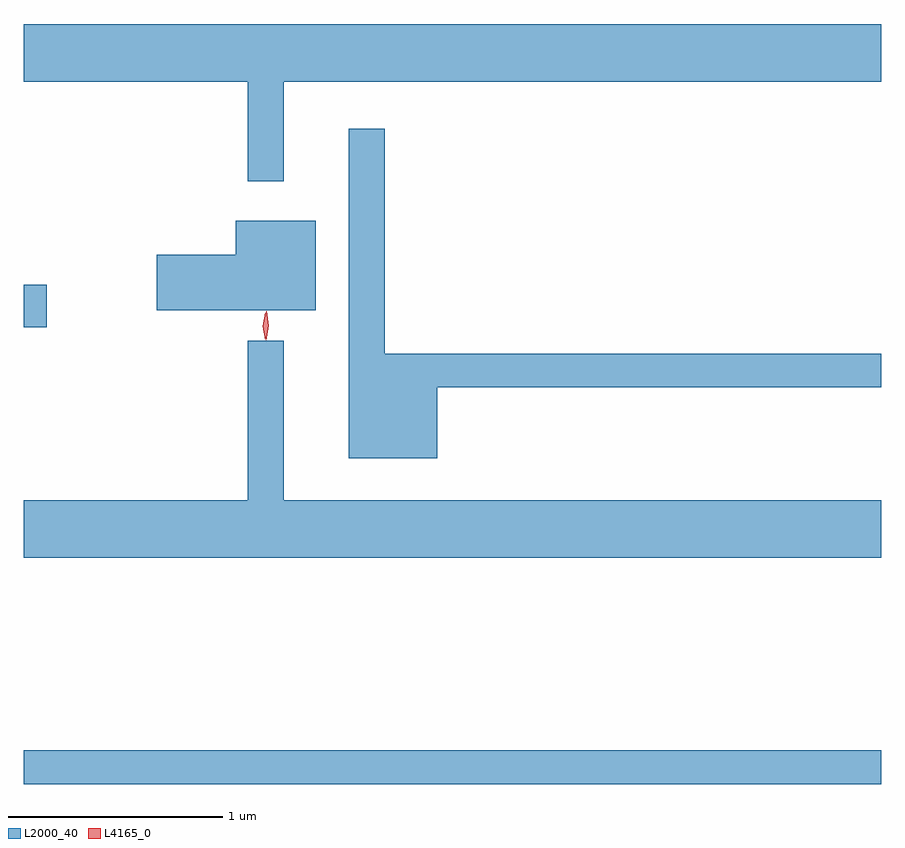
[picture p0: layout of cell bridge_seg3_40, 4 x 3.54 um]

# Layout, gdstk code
import gdstk
lib = gdstk.Library(unit=1e-6, precision=1e-09)
def R(c, l, rs):  # rectangles x0, y0, x1, y1
    for r in rs: c.add(gdstk.rectangle(r[:2], r[2:], *l))
def P(c, l, *ps):  # polygons
    for p in ps: c.add(gdstk.Polygon(p, *l))
L2000_40 = (2000, 40)
L4165_0 = (4165, 0)

bridge_seg3_40 = lib.new_cell('bridge_seg3_40')
R(bridge_seg3_40, L2000_40, [(1239.576,1171.581,1243.576,1171.739), (1239.576,1173.711,1239.684,1173.909)])
P(bridge_seg3_40, L2000_40, [(1240.789,1174.856),(1243.576,1174.856),(1243.576,1175.124),(1242.179,1175.124),(1242.179,1175.126),(1241.951,1175.126),(1241.951,1175.124),(1240.719,1175.124),(1240.719,1175.126),(1240.491,1175.126),(1240.491,1175.124),(1239.576,1175.124),(1239.576,1174.856),(1240.621,1174.856),(1240.621,1174.393),(1240.789,1174.393)],
  [(1241.504,1173.431),(1243.576,1173.431),(1243.576,1173.589),(1241.259,1173.589),(1241.259,1174.638),(1241.091,1174.638),(1241.091,1173.101),(1241.504,1173.101)],
  [(1240.939,1174.209),(1240.566,1174.209),(1240.566,1174.049),(1240.196,1174.049),(1240.196,1173.791),(1240.939,1173.791)],
  [(1243.576,1172.904),(1240.789,1172.904),(1240.789,1173.648),(1240.621,1173.648),(1240.621,1172.904),(1239.576,1172.904),(1239.576,1172.636),(1243.576,1172.636)])
P(bridge_seg3_40, L4165_0, [(1240.707,1173.65),(1240.707,1173.65),(1240.698,1173.718),(1240.708,1173.785),(1240.709,1173.786),(1240.709,1173.785),(1240.718,1173.718),(1240.708,1173.65)],
  [(1240.702,1173.653),(1240.702,1173.654),(1240.692,1173.716),(1240.702,1173.78),(1240.702,1173.78),(1240.703,1173.78),(1240.712,1173.716),(1240.703,1173.654)])

lib.write_gds('bridge_seg3_40.gds')
